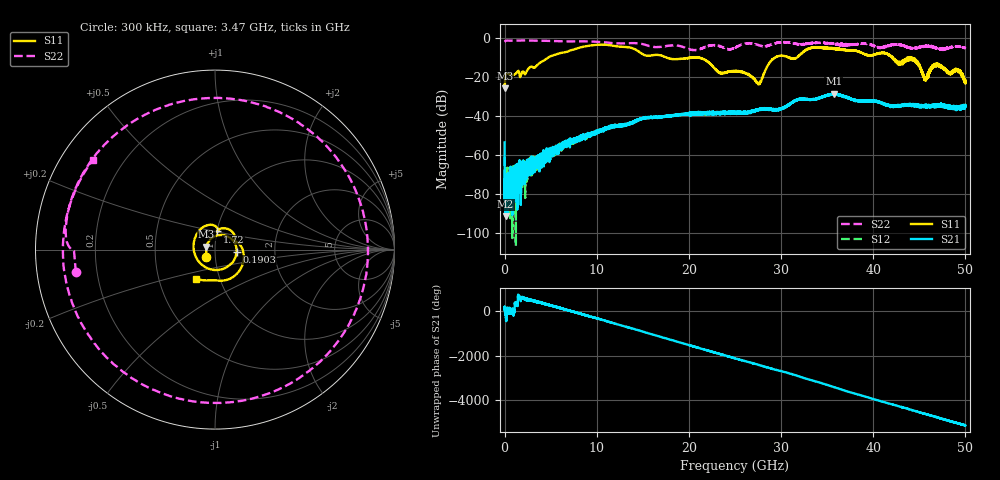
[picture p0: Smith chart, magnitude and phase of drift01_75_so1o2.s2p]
!Created with skrf (http://scikit-rf.org).
# Hz S RI R 50.0
!freq ReS11 ImS11 ReS21 ImS21 ReS12 ImS12 ReS22 ImS22
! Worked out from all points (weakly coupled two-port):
!   10001 points, 300 kHz to 50 GHz, reference 50 ohm
!   highest |S21| = -28.62 dB at 35.72 GHz (marker M1); lowest = -91.3 dB at 110.3 MHz (marker M2)
!   lowest |S11| = -25.8 dB at 5.3 MHz (marker M3), VSWR 1.11, Z = 45.3 + j1.42 ohm
!   |S11| at or under -10 dB: start of sweep to 4.763 GHz; 17.52 GHz to 29.37 GHz (11.85 GHz wide, 50.5 % of centre); 44 GHz to end of sweep (the widest 3 of 8)
!   |S22| runs from -6.3 to -1.3 dB; largest |S21 - S12| = 0.0046
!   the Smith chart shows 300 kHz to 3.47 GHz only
!   S11 on the Smith chart (normalised r, x): 300 kHz: 0.91, -0.07; 190.3 MHz: 1.27, -0.03; 1.72 GHz: 1.00, +0.20; 3.47 GHz: 0.77, -0.26
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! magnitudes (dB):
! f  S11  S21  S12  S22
! 300 kHz  -24.1  -53.5  -61.0  -2.1
! 5.3 MHz  -25.8  -71.8  -73.1  -2.1
! 110.3 MHz  -18.8  -91.3  -73.9  -1.5
! 190.3 MHz  -18.3  -82.0  -73.7  -1.4
! 710.3 MHz  -19.0  -71.4  -88.8  -1.5
! 1.72 GHz  -19.8  -68.6  -76.2  -1.4
! 3.47 GHz  -14.3  -62.3  -65.5  -1.5
! 8.335 GHz  -4.8  -50.9  -51.5  -1.8
! 16.67 GHz  -8.8  -40.4  -40.5  -4.7
! 21.22 GHz  -10.3  -38.5  -38.6  -5.7
! 25 GHz  -17.0  -38.5  -38.5  -5.0
! 27.6 GHz  -23.2  -36.9  -36.7  -3.7
! 29.29 GHz  -10.3  -36.9  -36.6  -2.9
! 31.5 GHz  -10.6  -32.3  -32.4  -3.0
! 33.34 GHz  -5.1  -31.8  -31.5  -2.7
! 35.72 GHz  -5.6  -28.6  -29.0  -3.1
! 41.67 GHz  -8.5  -34.6  -34.7  -4.1
! 42.8 GHz  -12.5  -34.8  -34.6  -3.4
! 44.41 GHz  -11.4  -34.0  -34.7  -5.5
! 45.64 GHz  -20.2  -35.5  -35.0  -4.2
! 46.96 GHz  -13.0  -34.1  -34.7  -5.3
! 50 GHz  -21.7  -34.6  -35.1  -5.2
